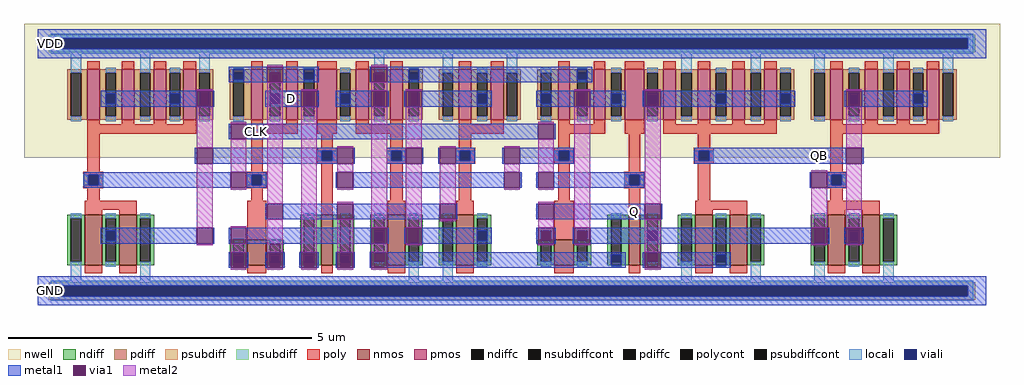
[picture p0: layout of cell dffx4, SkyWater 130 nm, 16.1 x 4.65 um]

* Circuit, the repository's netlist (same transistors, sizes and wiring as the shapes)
** sch_path: /foss/designs/dffx4.sch
.subckt dffx4 VDD GND CLK D Q QB
*.PININFO VDD:B GND:B CLK:I D:I Q:O QB:O
XM1 D CLK net1 VDD sky130_fd_pr__pfet_01v8 L=0.19 W=1.68 nf=2
XM2 D CLKB net1 GND sky130_fd_pr__nfet_01v8 L=0.19 W=0.84 nf=1
XM3 CLKB CLK VDD VDD sky130_fd_pr__pfet_01v8 L=0.21 W=3.36 nf=4
XM4 CLKB CLK GND GND sky130_fd_pr__nfet_01v8 L=0.29 W=1.68 nf=2
XM14 Q CLKB net4 GND sky130_fd_pr__nfet_01v8 L=0.32 W=0.42 nf=1
XM13 Q CLK net4 VDD sky130_fd_pr__pfet_01v8 L=0.32 W=0.84 nf=1
XM7 net3 net1 VDD VDD sky130_fd_pr__pfet_01v8 L=0.21 W=1.68 nf=2
XM8 net3 net1 GND GND sky130_fd_pr__nfet_01v8 L=0.29 W=0.84 nf=1
XM17 net2 net3 VDD VDD sky130_fd_pr__pfet_01v8 L=0.21 W=1.68 nf=2
XM6 net2 net3 GND GND sky130_fd_pr__nfet_01v8 L=0.29 W=0.84 nf=1
XM9 QB net4 VDD VDD sky130_fd_pr__pfet_01v8 L=0.21 W=3.36 nf=4
XM10 QB net4 GND GND sky130_fd_pr__nfet_01v8 L=0.29 W=1.68 nf=2
XM11 Q QB VDD VDD sky130_fd_pr__pfet_01v8 L=0.21 W=3.36 nf=4
XM12 Q QB GND GND sky130_fd_pr__nfet_01v8 L=0.29 W=1.68 nf=2
XM5 net2 CLK net4 GND sky130_fd_pr__nfet_01v8 L=0.19 W=0.84 nf=1
XM18 net2 CLKB net4 VDD sky130_fd_pr__pfet_01v8 L=0.19 W=1.68 nf=2
XM15 net2 CLKB net1 VDD sky130_fd_pr__pfet_01v8 L=0.32 W=0.84 nf=1
XM16 net2 CLK net1 GND sky130_fd_pr__nfet_01v8 L=0.32 W=0.42 nf=1
.ends

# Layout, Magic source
magic
tech sky130A
magscale 1 2
<< nwell >>
rect -46 440 3174 882
<< nmos >>
rect 154 84 212 252
rect 268 84 326 252
rect 690 84 754 168
rect 935 84 973 252
rect 1154 84 1212 252
rect 1380 84 1438 252
rect 1704 84 1768 168
rect 1949 84 1987 252
rect 2168 84 2226 252
rect 2282 84 2340 252
rect 2606 84 2664 252
rect 2720 84 2778 252
<< pmos >>
rect 162 564 204 732
rect 276 564 318 732
rect 382 564 424 732
rect 480 564 522 732
rect 703 564 741 732
rect 819 564 857 732
rect 922 564 986 732
rect 1049 564 1091 732
rect 1162 564 1204 732
rect 1388 564 1430 732
rect 1494 564 1536 732
rect 1717 564 1755 732
rect 1833 564 1871 732
rect 1936 564 2000 732
rect 2063 564 2105 732
rect 2176 564 2218 732
rect 2290 564 2332 732
rect 2396 564 2438 732
rect 2614 564 2656 732
rect 2728 564 2770 732
rect 2834 564 2876 732
rect 2932 564 2974 732
<< ndiff >>
rect 97 240 154 252
rect 97 96 109 240
rect 143 96 154 240
rect 97 84 154 96
rect 212 240 268 252
rect 212 96 223 240
rect 257 96 268 240
rect 212 84 268 96
rect 326 240 383 252
rect 326 96 337 240
rect 371 96 383 240
rect 865 240 935 252
rect 326 84 383 96
rect 633 156 690 168
rect 633 96 645 156
rect 679 96 690 156
rect 633 84 690 96
rect 754 156 811 168
rect 754 96 765 156
rect 799 96 811 156
rect 754 84 811 96
rect 865 96 877 240
rect 911 96 935 240
rect 865 84 935 96
rect 973 240 1043 252
rect 973 96 997 240
rect 1031 96 1043 240
rect 973 84 1043 96
rect 1097 240 1154 252
rect 1097 96 1109 240
rect 1143 96 1154 240
rect 1097 84 1154 96
rect 1212 240 1269 252
rect 1212 96 1223 240
rect 1257 96 1269 240
rect 1212 84 1269 96
rect 1323 240 1380 252
rect 1323 96 1335 240
rect 1369 96 1380 240
rect 1323 84 1380 96
rect 1438 240 1495 252
rect 1438 96 1449 240
rect 1483 96 1495 240
rect 1879 240 1949 252
rect 1438 84 1495 96
rect 1647 156 1704 168
rect 1647 96 1659 156
rect 1693 96 1704 156
rect 1647 84 1704 96
rect 1768 156 1825 168
rect 1768 96 1779 156
rect 1813 96 1825 156
rect 1768 84 1825 96
rect 1879 96 1891 240
rect 1925 96 1949 240
rect 1879 84 1949 96
rect 1987 240 2057 252
rect 1987 96 2011 240
rect 2045 96 2057 240
rect 1987 84 2057 96
rect 2111 240 2168 252
rect 2111 96 2123 240
rect 2157 96 2168 240
rect 2111 84 2168 96
rect 2226 240 2282 252
rect 2226 96 2237 240
rect 2271 96 2282 240
rect 2226 84 2282 96
rect 2340 240 2397 252
rect 2340 96 2351 240
rect 2385 96 2397 240
rect 2340 84 2397 96
rect 2549 240 2606 252
rect 2549 96 2561 240
rect 2595 96 2606 240
rect 2549 84 2606 96
rect 2664 240 2720 252
rect 2664 96 2675 240
rect 2709 96 2720 240
rect 2664 84 2720 96
rect 2778 240 2835 252
rect 2778 96 2789 240
rect 2823 96 2835 240
rect 2778 84 2835 96
<< pdiff >>
rect 97 720 162 732
rect 97 576 109 720
rect 143 576 162 720
rect 97 564 162 576
rect 204 720 276 732
rect 204 576 223 720
rect 257 576 276 720
rect 204 564 276 576
rect 318 720 382 732
rect 318 576 337 720
rect 371 576 382 720
rect 318 564 382 576
rect 424 720 480 732
rect 424 576 435 720
rect 469 576 480 720
rect 424 564 480 576
rect 522 720 579 732
rect 522 576 533 720
rect 567 576 579 720
rect 522 564 579 576
rect 633 720 703 732
rect 633 576 645 720
rect 679 576 703 720
rect 633 564 703 576
rect 741 720 819 732
rect 741 576 765 720
rect 799 576 819 720
rect 741 564 819 576
rect 857 720 922 732
rect 857 576 877 720
rect 911 576 922 720
rect 857 564 922 576
rect 986 720 1049 732
rect 986 576 997 720
rect 1031 576 1049 720
rect 986 564 1049 576
rect 1091 720 1162 732
rect 1091 576 1109 720
rect 1143 576 1162 720
rect 1091 564 1162 576
rect 1204 720 1269 732
rect 1204 576 1223 720
rect 1257 576 1269 720
rect 1204 564 1269 576
rect 1323 720 1388 732
rect 1323 576 1335 720
rect 1369 576 1388 720
rect 1323 564 1388 576
rect 1430 720 1494 732
rect 1430 576 1449 720
rect 1483 576 1494 720
rect 1430 564 1494 576
rect 1536 720 1593 732
rect 1536 576 1547 720
rect 1581 576 1593 720
rect 1536 564 1593 576
rect 1647 720 1717 732
rect 1647 576 1659 720
rect 1693 576 1717 720
rect 1647 564 1717 576
rect 1755 720 1833 732
rect 1755 576 1779 720
rect 1813 576 1833 720
rect 1755 564 1833 576
rect 1871 720 1936 732
rect 1871 576 1891 720
rect 1925 576 1936 720
rect 1871 564 1936 576
rect 2000 720 2063 732
rect 2000 576 2011 720
rect 2045 576 2063 720
rect 2000 564 2063 576
rect 2105 720 2176 732
rect 2105 576 2123 720
rect 2157 576 2176 720
rect 2105 564 2176 576
rect 2218 720 2290 732
rect 2218 576 2237 720
rect 2271 576 2290 720
rect 2218 564 2290 576
rect 2332 720 2396 732
rect 2332 576 2351 720
rect 2385 576 2396 720
rect 2332 564 2396 576
rect 2438 720 2495 732
rect 2438 576 2449 720
rect 2483 576 2495 720
rect 2438 564 2495 576
rect 2549 720 2614 732
rect 2549 576 2561 720
rect 2595 576 2614 720
rect 2549 564 2614 576
rect 2656 720 2728 732
rect 2656 576 2675 720
rect 2709 576 2728 720
rect 2656 564 2728 576
rect 2770 720 2834 732
rect 2770 576 2789 720
rect 2823 576 2834 720
rect 2770 564 2834 576
rect 2876 720 2932 732
rect 2876 576 2887 720
rect 2921 576 2932 720
rect 2876 564 2932 576
rect 2974 720 3031 732
rect 2974 576 2985 720
rect 3019 576 3031 720
rect 2974 564 3031 576
<< ndiffc >>
rect 109 96 143 240
rect 223 96 257 240
rect 337 96 371 240
rect 645 96 679 156
rect 765 96 799 156
rect 877 96 911 240
rect 997 96 1031 240
rect 1109 96 1143 240
rect 1223 96 1257 240
rect 1335 96 1369 240
rect 1449 96 1483 240
rect 1659 96 1693 156
rect 1779 96 1813 156
rect 1891 96 1925 240
rect 2011 96 2045 240
rect 2123 96 2157 240
rect 2237 96 2271 240
rect 2351 96 2385 240
rect 2561 96 2595 240
rect 2675 96 2709 240
rect 2789 96 2823 240
<< pdiffc >>
rect 109 576 143 720
rect 223 576 257 720
rect 337 576 371 720
rect 435 576 469 720
rect 533 576 567 720
rect 645 576 679 720
rect 765 576 799 720
rect 877 576 911 720
rect 997 576 1031 720
rect 1109 576 1143 720
rect 1223 576 1257 720
rect 1335 576 1369 720
rect 1449 576 1483 720
rect 1547 576 1581 720
rect 1659 576 1693 720
rect 1779 576 1813 720
rect 1891 576 1925 720
rect 2011 576 2045 720
rect 2123 576 2157 720
rect 2237 576 2271 720
rect 2351 576 2385 720
rect 2449 576 2483 720
rect 2561 576 2595 720
rect 2675 576 2709 720
rect 2789 576 2823 720
rect 2887 576 2921 720
rect 2985 576 3019 720
<< psubdiff >>
rect 36 17 3092 29
rect 36 -17 60 17
rect 3068 -17 3092 17
rect 36 -29 3092 -17
<< nsubdiff >>
rect 36 833 3092 845
rect 36 799 60 833
rect 3068 799 3092 833
rect 36 787 3092 799
<< psubdiffcont >>
rect 60 -17 3068 17
<< nsubdiffcont >>
rect 60 799 3068 833
<< poly >>
rect 162 732 204 758
rect 276 732 318 758
rect 382 732 424 758
rect 480 732 522 758
rect 703 732 741 758
rect 819 732 857 758
rect 922 732 986 758
rect 1049 732 1091 758
rect 1162 732 1204 758
rect 1388 732 1430 758
rect 1494 732 1536 758
rect 1717 732 1755 758
rect 1833 732 1871 758
rect 1936 732 2000 758
rect 2063 732 2105 758
rect 2176 732 2218 758
rect 2290 732 2332 758
rect 2396 732 2438 758
rect 2614 732 2656 758
rect 2728 732 2770 758
rect 2834 732 2876 758
rect 2932 732 2974 758
rect 162 549 204 564
rect 276 549 318 564
rect 382 549 424 564
rect 480 549 522 564
rect 162 519 522 549
rect 703 549 741 564
rect 819 549 857 564
rect 703 519 857 549
rect 922 519 986 564
rect 1049 549 1091 564
rect 1162 549 1204 564
rect 1049 519 1204 549
rect 162 393 204 519
rect 703 393 741 519
rect 935 473 973 519
rect 1162 473 1204 519
rect 1388 549 1430 564
rect 1494 549 1536 564
rect 1388 519 1536 549
rect 1717 549 1755 564
rect 1833 549 1871 564
rect 1717 519 1871 549
rect 1936 519 2000 564
rect 2063 549 2105 564
rect 2176 549 2218 564
rect 2290 549 2332 564
rect 2396 549 2438 564
rect 2063 519 2438 549
rect 2614 549 2656 564
rect 2728 549 2770 564
rect 2834 549 2876 564
rect 2932 549 2974 564
rect 2614 519 2974 549
rect 1388 473 1430 519
rect 1717 473 1755 519
rect 921 463 987 473
rect 921 429 937 463
rect 971 429 987 463
rect 921 419 987 429
rect 1150 463 1216 473
rect 1150 429 1166 463
rect 1200 429 1216 463
rect 1150 419 1216 429
rect 1376 463 1442 473
rect 1376 429 1392 463
rect 1426 429 1442 463
rect 1376 419 1442 429
rect 1703 463 1769 473
rect 1703 429 1719 463
rect 1753 429 1769 463
rect 1703 419 1769 429
rect 150 383 216 393
rect 150 349 166 383
rect 200 349 216 383
rect 150 339 216 349
rect 689 383 755 393
rect 689 349 705 383
rect 739 349 755 383
rect 689 339 755 349
rect 162 297 204 339
rect 703 297 741 339
rect 154 267 326 297
rect 154 252 212 267
rect 268 252 326 267
rect 690 168 754 297
rect 935 252 973 419
rect 1162 297 1204 419
rect 1388 297 1430 419
rect 1717 297 1755 419
rect 1949 393 1987 519
rect 2176 473 2218 519
rect 2164 463 2230 473
rect 2164 429 2180 463
rect 2214 429 2230 463
rect 2164 419 2230 429
rect 1935 383 2001 393
rect 1935 349 1951 383
rect 1985 349 2001 383
rect 1935 339 2001 349
rect 1154 252 1212 297
rect 1380 252 1438 297
rect 1704 168 1768 297
rect 1949 252 1987 339
rect 2176 297 2218 419
rect 2614 393 2656 519
rect 2602 383 2668 393
rect 2602 349 2618 383
rect 2652 349 2668 383
rect 2602 339 2668 349
rect 2614 297 2656 339
rect 2168 267 2340 297
rect 2168 252 2226 267
rect 2282 252 2340 267
rect 2606 267 2778 297
rect 2606 252 2664 267
rect 2720 252 2778 267
rect 154 58 212 84
rect 268 58 326 84
rect 690 58 754 84
rect 935 58 973 84
rect 1154 58 1212 84
rect 1380 58 1438 84
rect 1704 58 1768 84
rect 1949 58 1987 84
rect 2168 58 2226 84
rect 2282 58 2340 84
rect 2606 58 2664 84
rect 2720 58 2778 84
<< polycont >>
rect 937 429 971 463
rect 1166 429 1200 463
rect 1392 429 1426 463
rect 1719 429 1753 463
rect 166 349 200 383
rect 705 349 739 383
rect 2180 429 2214 463
rect 1951 349 1985 383
rect 2618 349 2652 383
<< locali >>
rect 42 833 3086 849
rect 42 799 60 833
rect 3068 799 3086 833
rect 42 783 3086 799
rect 109 720 143 783
rect 109 560 143 576
rect 223 720 257 736
rect 223 560 257 576
rect 337 720 371 783
rect 337 560 371 576
rect 435 720 469 736
rect 435 560 469 576
rect 533 720 567 783
rect 533 560 567 576
rect 645 731 679 736
rect 645 560 679 576
rect 765 720 799 736
rect 765 560 799 576
rect 877 731 911 736
rect 877 560 911 576
rect 997 720 1031 736
rect 997 560 1031 576
rect 1109 720 1143 783
rect 1109 560 1143 576
rect 1223 731 1257 736
rect 1223 560 1257 576
rect 1335 720 1369 783
rect 1335 560 1369 576
rect 1449 720 1483 736
rect 1449 560 1483 576
rect 1547 720 1581 783
rect 1547 560 1581 576
rect 1659 720 1693 736
rect 1659 560 1693 576
rect 1779 731 1813 736
rect 1779 560 1813 576
rect 1891 720 1925 736
rect 1891 560 1925 576
rect 2011 720 2045 736
rect 2011 560 2045 576
rect 2123 720 2157 783
rect 2123 560 2157 576
rect 2237 720 2271 736
rect 2237 560 2271 576
rect 2351 720 2385 783
rect 2351 560 2385 576
rect 2449 720 2483 736
rect 2449 560 2483 576
rect 2561 720 2595 783
rect 2561 560 2595 576
rect 2675 720 2709 736
rect 2675 560 2709 576
rect 2789 720 2823 783
rect 2789 560 2823 576
rect 2887 720 2921 736
rect 2887 560 2921 576
rect 2985 720 3019 783
rect 2985 560 3019 576
rect 921 429 937 463
rect 971 429 987 463
rect 1150 429 1166 463
rect 1200 429 1216 463
rect 1376 429 1392 463
rect 1426 429 1442 463
rect 1703 429 1719 463
rect 1753 429 1769 463
rect 2164 429 2180 463
rect 2214 429 2230 463
rect 150 349 166 383
rect 200 349 216 383
rect 689 349 705 383
rect 739 349 755 383
rect 1935 349 1951 383
rect 1985 349 2001 383
rect 2602 349 2618 383
rect 2652 349 2668 383
rect 109 240 143 256
rect 109 33 143 96
rect 223 240 257 256
rect 223 80 257 96
rect 337 240 371 256
rect 877 240 911 256
rect 337 33 371 96
rect 645 156 679 172
rect 645 80 679 85
rect 765 156 799 172
rect 765 80 799 85
rect 877 80 911 85
rect 997 240 1031 256
rect 997 80 1031 85
rect 1109 240 1143 256
rect 1109 80 1143 96
rect 1223 240 1257 256
rect 1223 33 1257 96
rect 1335 240 1369 256
rect 1335 33 1369 96
rect 1449 240 1483 256
rect 1891 240 1925 256
rect 1449 80 1483 96
rect 1659 156 1693 165
rect 1659 80 1693 96
rect 1779 156 1813 165
rect 1779 80 1813 96
rect 1891 80 1925 85
rect 2011 240 2045 256
rect 2011 80 2045 96
rect 2123 240 2157 256
rect 2123 33 2157 96
rect 2237 240 2271 256
rect 2237 80 2271 85
rect 2351 240 2385 256
rect 2351 33 2385 96
rect 2561 240 2595 256
rect 2561 33 2595 96
rect 2675 240 2709 256
rect 2675 80 2709 96
rect 2789 240 2823 256
rect 2789 33 2823 96
rect 42 17 3086 33
rect 42 -17 60 17
rect 3068 -17 3086 17
rect 42 -33 3086 -17
<< viali >>
rect 60 799 3068 833
rect 223 617 257 651
rect 435 617 469 651
rect 645 720 679 731
rect 645 697 679 720
rect 765 617 799 651
rect 877 720 911 731
rect 877 697 911 720
rect 997 617 1031 651
rect 1223 720 1257 731
rect 1223 697 1257 720
rect 1449 617 1483 651
rect 1659 617 1693 651
rect 1779 720 1813 731
rect 1779 697 1813 720
rect 1891 617 1925 651
rect 2011 617 2045 651
rect 2237 617 2271 651
rect 2449 617 2483 651
rect 2675 617 2709 651
rect 2887 617 2921 651
rect 937 429 971 463
rect 1166 429 1200 463
rect 1392 429 1426 463
rect 1719 429 1753 463
rect 2180 429 2214 463
rect 166 349 200 383
rect 705 349 739 383
rect 1951 349 1985 383
rect 2618 349 2652 383
rect 223 165 257 199
rect 645 96 679 119
rect 645 85 679 96
rect 765 96 799 119
rect 765 85 799 96
rect 877 96 911 119
rect 877 85 911 96
rect 997 96 1031 119
rect 997 85 1031 96
rect 1109 165 1143 199
rect 1449 165 1483 199
rect 1659 165 1693 199
rect 1779 165 1813 199
rect 1891 96 1925 119
rect 1891 85 1925 96
rect 2011 165 2045 199
rect 2237 96 2271 119
rect 2237 85 2271 96
rect 2675 165 2709 199
rect 60 -17 3068 17
<< metal1 >>
rect 0 833 3128 864
rect 0 799 60 833
rect 3068 799 3128 833
rect 0 768 3128 799
rect 630 731 756 740
rect 630 697 645 731
rect 679 697 756 731
rect 630 688 756 697
rect 808 731 926 740
rect 808 697 877 731
rect 911 697 926 731
rect 808 688 926 697
rect 1094 688 1100 740
rect 1152 731 1828 740
rect 1152 697 1223 731
rect 1257 697 1779 731
rect 1813 697 1828 731
rect 1152 688 1828 697
rect 208 651 524 660
rect 208 617 223 651
rect 257 617 435 651
rect 469 617 524 651
rect 208 608 524 617
rect 576 608 582 660
rect 750 651 868 660
rect 750 617 765 651
rect 799 617 868 651
rect 750 608 868 617
rect 920 608 926 660
rect 982 651 1100 660
rect 982 617 997 651
rect 1031 617 1100 651
rect 982 608 1100 617
rect 1152 608 1158 660
rect 1208 608 1214 660
rect 1266 651 1498 660
rect 1266 617 1449 651
rect 1483 617 1498 651
rect 1266 608 1498 617
rect 1644 651 1770 660
rect 1644 617 1659 651
rect 1693 617 1770 651
rect 1644 608 1770 617
rect 1822 651 1940 660
rect 1822 617 1891 651
rect 1925 617 1940 651
rect 1822 608 1940 617
rect 1996 608 2002 660
rect 2054 651 2498 660
rect 2054 617 2237 651
rect 2271 617 2449 651
rect 2483 617 2498 651
rect 2054 608 2498 617
rect 2660 608 2666 660
rect 2718 651 2936 660
rect 2718 617 2887 651
rect 2921 617 2936 651
rect 2718 608 2936 617
rect 630 500 636 552
rect 688 500 1650 552
rect 1702 500 1708 552
rect 518 420 524 472
rect 576 463 988 472
rect 576 429 937 463
rect 971 429 988 463
rect 576 420 988 429
rect 1040 420 1046 472
rect 1151 463 1214 472
rect 1151 429 1166 463
rect 1200 429 1214 463
rect 1151 420 1214 429
rect 1266 420 1272 472
rect 1320 420 1326 472
rect 1378 463 1441 472
rect 1378 429 1392 463
rect 1426 429 1441 463
rect 1378 420 1441 429
rect 1532 420 1538 472
rect 1590 463 1768 472
rect 1590 429 1719 463
rect 1753 429 1768 463
rect 1590 420 1768 429
rect 2165 463 2666 472
rect 2165 429 2180 463
rect 2214 429 2666 463
rect 2165 420 2666 429
rect 2718 420 2724 472
rect 151 383 636 392
rect 151 349 166 383
rect 200 349 636 383
rect 151 340 636 349
rect 688 383 754 392
rect 688 349 705 383
rect 739 349 754 383
rect 688 340 754 349
rect 982 340 988 392
rect 1040 340 1538 392
rect 1590 340 1596 392
rect 1644 340 1650 392
rect 1702 383 2000 392
rect 1702 349 1951 383
rect 1985 349 2000 383
rect 1702 340 2000 349
rect 2546 340 2552 392
rect 2604 383 2667 392
rect 2604 349 2618 383
rect 2652 349 2667 383
rect 2604 340 2667 349
rect 750 236 756 288
rect 808 236 988 288
rect 1040 236 1326 288
rect 1378 236 1384 288
rect 1644 236 1650 288
rect 1702 236 2002 288
rect 2054 236 2060 288
rect 208 199 524 208
rect 208 165 223 199
rect 257 165 524 199
rect 208 156 524 165
rect 576 156 582 208
rect 630 156 636 208
rect 688 156 1100 208
rect 1152 156 1158 208
rect 1208 156 1214 208
rect 1266 199 1498 208
rect 1266 165 1449 199
rect 1483 165 1498 199
rect 1266 156 1498 165
rect 1644 156 1650 208
rect 1702 156 1708 208
rect 1764 156 1770 208
rect 1822 199 2552 208
rect 1822 165 2011 199
rect 2045 165 2552 199
rect 1822 156 2552 165
rect 2604 156 2610 208
rect 2660 156 2666 208
rect 2718 156 2724 208
rect 630 76 636 128
rect 688 76 694 128
rect 750 76 756 128
rect 808 76 814 128
rect 862 76 868 128
rect 920 76 926 128
rect 982 76 988 128
rect 1040 76 1046 128
rect 1094 76 1100 128
rect 1152 119 1940 128
rect 1152 85 1891 119
rect 1925 85 1940 119
rect 1152 76 1940 85
rect 1996 76 2002 128
rect 2054 119 2286 128
rect 2054 85 2237 119
rect 2271 85 2286 119
rect 2054 76 2286 85
rect 0 17 3128 48
rect 0 -17 60 17
rect 3068 -17 3128 17
rect 0 -48 3128 -17
<< via1 >>
rect 756 688 808 740
rect 1100 688 1152 740
rect 524 608 576 660
rect 868 608 920 660
rect 1100 608 1152 660
rect 1214 608 1266 660
rect 1770 608 1822 660
rect 2002 651 2054 660
rect 2002 617 2011 651
rect 2011 617 2045 651
rect 2045 617 2054 651
rect 2002 608 2054 617
rect 2666 651 2718 660
rect 2666 617 2675 651
rect 2675 617 2709 651
rect 2709 617 2718 651
rect 2666 608 2718 617
rect 636 500 688 552
rect 1650 500 1702 552
rect 524 420 576 472
rect 988 420 1040 472
rect 1214 420 1266 472
rect 1326 420 1378 472
rect 1538 420 1590 472
rect 2666 420 2718 472
rect 636 340 688 392
rect 988 340 1040 392
rect 1538 340 1590 392
rect 1650 340 1702 392
rect 2552 340 2604 392
rect 756 236 808 288
rect 988 236 1040 288
rect 1326 236 1378 288
rect 1650 236 1702 288
rect 2002 236 2054 288
rect 524 156 576 208
rect 636 156 688 208
rect 1100 199 1152 208
rect 1100 165 1109 199
rect 1109 165 1143 199
rect 1143 165 1152 199
rect 1100 156 1152 165
rect 1214 156 1266 208
rect 1650 199 1702 208
rect 1650 165 1659 199
rect 1659 165 1693 199
rect 1693 165 1702 199
rect 1650 156 1702 165
rect 1770 199 1822 208
rect 1770 165 1779 199
rect 1779 165 1813 199
rect 1813 165 1822 199
rect 1770 156 1822 165
rect 2552 156 2604 208
rect 2666 199 2718 208
rect 2666 165 2675 199
rect 2675 165 2709 199
rect 2709 165 2718 199
rect 2666 156 2718 165
rect 636 119 688 128
rect 636 85 645 119
rect 645 85 679 119
rect 679 85 688 119
rect 636 76 688 85
rect 756 119 808 128
rect 756 85 765 119
rect 765 85 799 119
rect 799 85 808 119
rect 756 76 808 85
rect 868 119 920 128
rect 868 85 877 119
rect 877 85 911 119
rect 911 85 920 119
rect 868 76 920 85
rect 988 119 1040 128
rect 988 85 997 119
rect 997 85 1031 119
rect 1031 85 1040 119
rect 988 76 1040 85
rect 1100 76 1152 128
rect 2002 76 2054 128
<< metal2 >>
rect 756 740 808 746
rect 524 660 576 666
rect 524 472 576 608
rect 524 208 576 420
rect 636 552 688 558
rect 636 392 688 500
rect 636 334 688 340
rect 756 288 808 688
rect 1100 740 1152 746
rect 524 150 576 156
rect 636 208 688 214
rect 636 128 688 156
rect 636 70 688 76
rect 756 128 808 236
rect 756 70 808 76
rect 868 660 920 666
rect 868 128 920 608
rect 1100 660 1152 688
rect 988 472 1040 478
rect 988 392 1040 420
rect 988 334 1040 340
rect 868 70 920 76
rect 988 288 1040 294
rect 988 128 1040 236
rect 988 70 1040 76
rect 1100 208 1152 608
rect 1100 128 1152 156
rect 1214 660 1266 666
rect 1214 472 1266 608
rect 1770 660 1822 666
rect 1650 552 1702 558
rect 1214 208 1266 420
rect 1326 472 1378 478
rect 1326 288 1378 420
rect 1538 472 1590 478
rect 1538 392 1590 420
rect 1538 334 1590 340
rect 1650 392 1702 500
rect 1650 334 1702 340
rect 1326 230 1378 236
rect 1650 288 1702 294
rect 1214 150 1266 156
rect 1650 208 1702 236
rect 1650 150 1702 156
rect 1770 208 1822 608
rect 1770 150 1822 156
rect 2002 660 2054 666
rect 2002 288 2054 608
rect 2666 660 2718 666
rect 2666 472 2718 608
rect 1100 70 1152 76
rect 2002 128 2054 236
rect 2552 392 2604 398
rect 2552 208 2604 340
rect 2552 150 2604 156
rect 2666 208 2718 420
rect 2666 150 2718 156
rect 2002 70 2054 76
<< labels >>
rlabel metal1 10 780 70 852 0 VDD
port 1 nsew
rlabel metal1 10 -36 70 36 0 GND
port 2 nsew
rlabel metal1 699 503 745 549 0 CLK
port 3 nsew
rlabel metal1 815 611 861 657 0 D
port 4 nsew
rlabel metal1 1945 239 1991 285 0 Q
port 5 nsew
rlabel metal1 2555 423 2601 469 0 QB
port 6 nsew
<< properties >>
string FIXED_BBOX 0 0 3128 816
<< end >>
